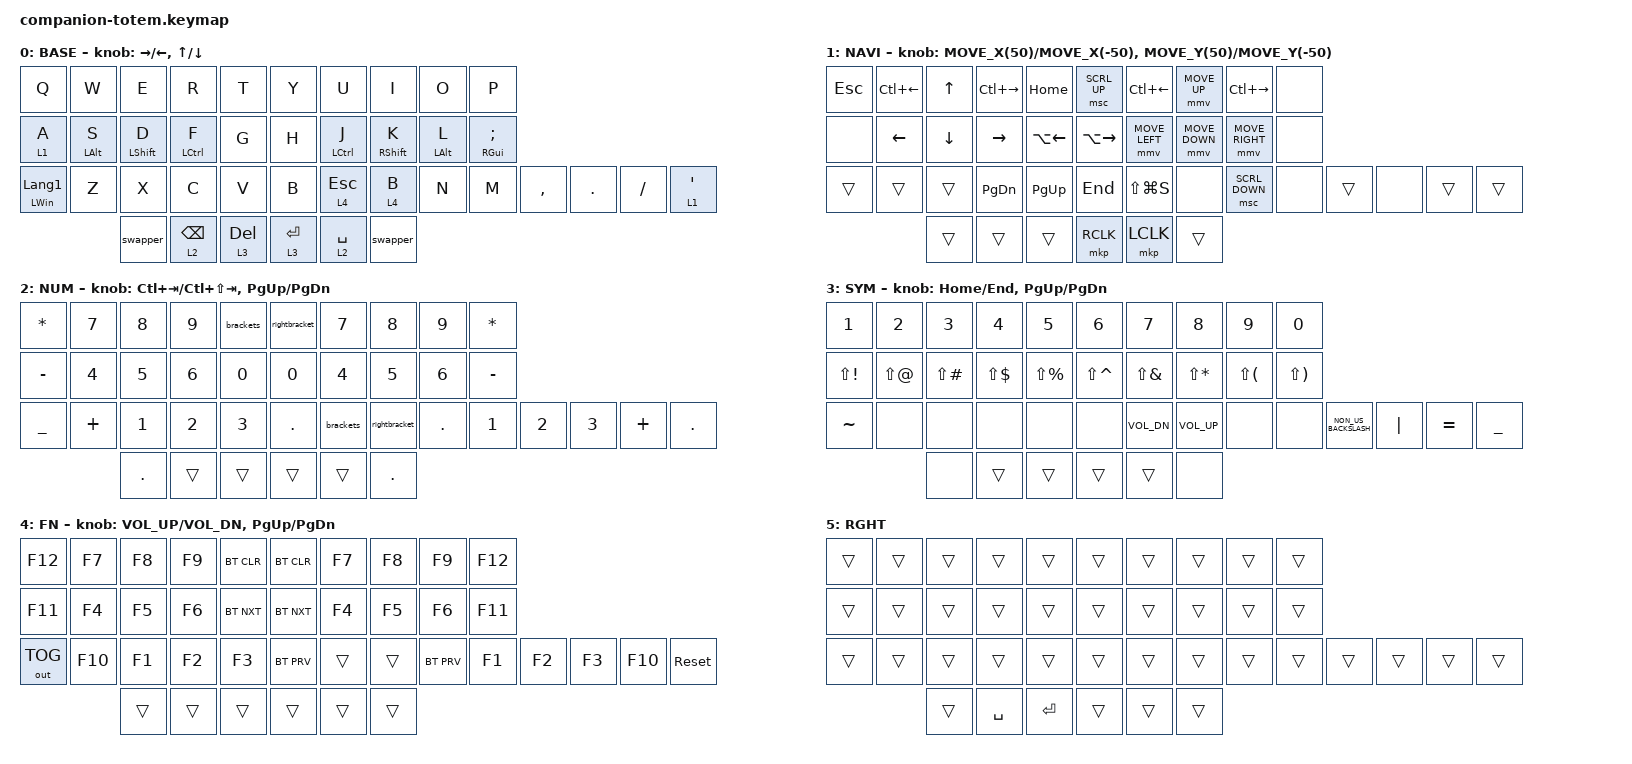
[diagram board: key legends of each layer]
//
//                                                        ▀▀▀▀▀     ▀▀▀▀▀          ▀▀█▀▀
//                                                        ▄▀▀▀▄  ▄  ▄▀▀▀▄  ▄  ▄▀▀▀▄  █  ▄▀▀▀▄
//                                                        █   █  █  █   █  █  █   █  █  █   █
//                                                         ▀▀▀   █   ▀▀▀   █   ▀▀▀   ▀   ▀▀▀
//                                                               █      ▄▄▄█▄▄▄    █   █  
//                                                               ▀      █  █  █     █▄█
//                                                             ▀▀▀▀▀    █  █  █      ▀
//                                                                      ▀  ▀  ▀
//
// ▄▄▄▄▄▄▄▄▄▄▄▄▄▄▄▄▄▄▄▄▄▄▄▄▄▄▄▄▄▄▄▄▄▄▄▄▄▄▄▄▄▄▄▄▄▄▄▄▄▄▄▄▄▄▄▄▄▄▄▄▄▄▄▄▄▄▄▄▄▄▄▄▄▄▄▄▄▄▄▄▄▄▄▄▄▄▄▄▄▄▄▄▄▄▄▄▄▄▄▄▄▄▄▄▄▄▄▄▄▄▄▄▄▄▄▄▄▄▄▄▄▄▄▄▄▄▄▄▄▄▄▄▄▄▄▄▄▄▄▄▄▄▄▄▄▄▄▄▄

#define ZMK_MOUSE_SCRL_VAL 140

#include <behaviors.dtsi>
#include <dt-bindings/zmk/bt.h>
#include <dt-bindings/zmk/keys.h>
#include <dt-bindings/zmk/outputs.h>
#include <dt-bindings/zmk/pointing.h>

#define BASE 0
#define NAV  1
#define SYM  2
#define ADJ  3
#define TVP1 4
#define TVP2 5

&mt {
    quick-tap-ms = <100>;
    global-quick-tap;
    flavor = "tap-preferred";
    tapping-term-ms = <180>;
};

&lt { quick-tap-ms = <200>; };

/ {
    combos {
        compatible = "zmk,combos";

        combo_esc {
            timeout-ms = <25>;
            key-positions = <0 1>;
            bindings = <&kp ESC>;
            require-prior-idle-ms = <150>;
        };

        Paste {
            bindings = <&kp LC(V)>;
            key-positions = <13 24>;
        };

        Tab {
            bindings = <&kp TAB>;
            key-positions = <12 13>;
            timeout-ms = <20>;
            require-prior-idle-ms = <200>;
        };

        hanyeonglayer {
            bindings = <&kp LANG_HANGEUL>;
            key-positions = <11 12 13>;
        };

        temp_right_hand {
            bindings = <&mo 5>;
            key-positions = <24 23 22>;
        };

        TOG_NAV {
            bindings = <&tog 1>;
            key-positions = <10 35>;
        };

        alt_tab {
            bindings = <&swapper>;
            key-positions = <0 1 2 3>;
            timeout-ms = <200>;
        };
    };

    macros {
        Left_right_bracket: Left_bracket {
            compatible = "zmk,behavior-macro";
            #binding-cells = <0>;
            bindings =
                <&macro_tap>,
                <&kp LEFT_PARENTHESIS &kp RIGHT_PARENTHESIS &kp LEFT>;

            label = "LEFT_BRACKET";
        };

        left_right_bracket_2: left_right_bracket_2 {
            compatible = "zmk,behavior-macro";
            #binding-cells = <0>;
            bindings = <&kp LEFT_BRACE &kp RIGHT_BRACE &kp LEFT>;
            label = "LEFT_RIGHT_BRACKET_2";
        };

        left_right_bracket_3: left_right_bracket_3 {
            compatible = "zmk,behavior-macro";
            #binding-cells = <0>;
            bindings = <&kp LEFT_BRACKET &kp RIGHT_BRACKET &kp LEFT>;
            label = "LEFT_RIGHT_BRACKET_3";
        };
    };

    behaviors {
        swapper: swapper {
            compatible = "zmk,behavior-tri-state";
            #binding-cells = <0>;
            bindings = <&kt LALT>, <&kp TAB>, <&kt LALT>;

            ignored-key-positions = <2 10 11 12 13>;

            // ignored-layers = <1>;
        };

        semicolon: semicolon {
            compatible = "zmk,behavior-mod-morph";
            label = "SEMICOLON";
            bindings = <&kp COMMA>, <&kp SEMICOLON>;

            #binding-cells = <0>;
            mods = <(MOD_LSFT)>;
        };

        colon: colon {
            compatible = "zmk,behavior-mod-morph";
            label = "COLON";
            bindings = <&kp PERIOD>, <&kp COLON>;

            #binding-cells = <0>;
            mods = <(MOD_LSFT)>;
        };

        hm: homerow_mods {
            compatible = "zmk,behavior-hold-tap";
            label = "HOMEROW_MODS";
            #binding-cells = <2>;
            bindings = <&kp>, <&kp>;

            tapping-term-ms = <150>;
            quick-tap-ms = <200>;
            flavor = "tap-preferred";
            require-prior-idle-ms = <120>;
        };

        brackets: brackets {
            compatible = "zmk,behavior-tap-dance";
            label = "BRACKETS";
            #binding-cells = <0>;
            bindings =
                <&small_bracket 0 LEFT_PARENTHESIS>,
                <&mid_bracket 0 LEFT_BRACE>,
                <&large_bracket 0 LEFT_BRACKET>;
        };

        rightbracket: rightbracket {
            compatible = "zmk,behavior-tap-dance";
            label = "RIGHTBRACKET";
            #binding-cells = <0>;
            bindings =
                <&kp RIGHT_PARENTHESIS>,
                <&kp RIGHT_BRACE>,
                <&kp RIGHT_BRACKET>;
        };

        small_bracket: small_bracket {
            compatible = "zmk,behavior-hold-tap";
            label = "SMALL_BRACKET";
            bindings = <&Left_right_bracket>, <&kp>;

            #binding-cells = <2>;
            tapping-term-ms = <200>;
            flavor = "balanced";
        };

        mid_bracket: mid_bracket {
            compatible = "zmk,behavior-hold-tap";
            label = "MID_BRACKET";
            bindings = <&left_right_bracket_2>, <&kp>;

            #binding-cells = <2>;
            tapping-term-ms = <200>;
            flavor = "balanced";
        };

        large_bracket: large_bracket {
            compatible = "zmk,behavior-hold-tap";
            label = "LARGE_BRACKET";
            bindings = <&left_right_bracket_3>, <&kp>;

            #binding-cells = <2>;
            tapping-term-ms = <200>;
            flavor = "balanced";
        };

        mouse_scroll: rotate_mouse_scroll {
            compatible = "zmk,behavior-sensor-rotate-var";
            #sensor-binding-cells = <2>;
            bindings = <&msc>, <&msc>;

            label = "scroll_left_right";
            tap-ms = <50>;
        };

        layer1: layer1 {
            compatible = "zmk,behavior-hold-tap";
            label = "LAYER1";
            bindings = <&mo>, <&kp>;

            #binding-cells = <2>;
            tapping-term-ms = <180>;
            require-prior-idle-ms = <150>;
            flavor = "balanced";
        };

        swapperbehav: swapperbehav {
            compatible = "zmk,behavior-hold-tap";
            label = "SWAPPERBEHAV";
            bindings = <&mo>, <&swapper>;

            #binding-cells = <2>;
            tapping-term-ms = <200>;
            flavor = "balanced";
        };
    };

    keymap {
        compatible = "zmk,keymap";

        // ▄▄▄▄▄▄▄▄▄▄▄▄▄▄▄▄▄▄▄▄▄▄▄▄▄▄▄▄▄▄▄▄▄▄▄▄▄▄▄▄▄▄▄▄▄▄▄▄▄▄▄▄▄▄▄▄▄▄▄▄▄▄▄▄▄▄▄▄▄▄▄▄▄▄▄▄▄▄▄▄▄▄▄▄▄▄▄▄▄▄▄▄▄▄▄▄▄▄▄▄▄▄▄▄▄▄▄▄▄▄▄▄▄▄▄▄▄▄▄▄▄▄▄▄▄▄▄▄▄▄▄▄▄▄▄▄▄▄▄▄▄▄▄▄▄▄▄▄▄

        base_layer {
            // ┏━━━━━━━━━━━━━━━━━━━━━━━━━━━━━━━━━━━━━━━┓

            label = "BASE";

            // ┗━━━━━━━━━━━━━━━━━━━━━━━━━━━━━━━━━━━━━━━┛
            //             ┏━━━━━━━━━━━┳━━━━━━━━━━━┳━━━━━━━━━━━┳━━━━━━━━━━━┳━━━━━━━━━━━┓                           ┏━━━━━━━━━━━┳━━━━━━━━━━━┳━━━━━━━━━━━┳━━━━━━━━━━━┳━━━━━━━━━━━┓
            //             ┃     Q     ┃     W     ┃     E     ┃     R     ┃     T     ┃                           ┃     Y     ┃     U     ┃     I     ┃     O     ┃     P     ┃
            //             ┣━━━━━━━━━━━╋━━━━━━━━━━━╋━━━━━━━━━━━╋━━━━━━━━━━━╋━━━━━━━━━━━┫                           ┣━━━━━━━━━━━╋━━━━━━━━━━━╋━━━━━━━━━━━╋━━━━━━━━━━━╋━━━━━━━━━━━┫
            //             ┃    A_L1   ┃   S_ALT   ┃  D_SHIFT  ┃  F_CTRL   ┃     G     ┃                           ┃     H     ┃   J_CTRL  ┃   K_SHFT  ┃   L_ALT   ┃   ;_GUI   ┃
            // ┏━━━━━━━━━━━╋━━━━━━━━━━━╋━━━━━━━━━━━╋━━━━━━━━━━━╋━━━━━━━━━━━╋━━━━━━━━━━━╋━━━━━━━━━━━┓   ┏━━━━━━━━━━━╋━━━━━━━━━━━╋━━━━━━━━━━━╋━━━━━━━━━━━╋━━━━━━━━━━━╋━━━━━━━━━━━╋━━━━━━━━━━━┓
            // ┃hangeul_GUI┃     Z     ┃     X     ┃     C     ┃     V     ┃     B     ┃  ESC_L4   ┃   ┃    B_L4   ┃     N     ┃     M     ┃     ,     ┃     .     ┃     /     ┃    '_L1   ┃
            // ┗━━━━━━━━━━━┻━━━━━━━━━━━┻━━━━━━━━━━━╋━━━━━━━━━━━╋━━━━━━━━━━━╋━━━━━━━━━━━╋━━━━━━━━━━━┛   ┗━━━━━━━━━━━╋━━━━━━━━━━━╋━━━━━━━━━━━╋━━━━━━━━━━━╋━━━━━━━━━━━┻━━━━━━━━━━━┻━━━━━━━━━━━┛
            //                                     ┃  swapper  ┃  BSPC_L2  ┃   DEL_L3  ┃                           ┃ ENTER_L3  ┃   SPC_L2  ┃  swapper  ┃
            //                                     ┗━━━━━━━━━━━┻━━━━━━━━━━━┻━━━━━━━━━━━┛                           ┗━━━━━━━━━━━┻━━━━━━━━━━━┻━━━━━━━━━━━┛

            bindings = <
&kp Q                    &kp W       &kp E        &kp R            &kp T         &kp Y        &kp U        &kp I        &kp O       &kp P
&layer1 1 A              &hm LALT S  &hm LSHFT D  &hm LCTRL F      &kp G         &kp H        &hm LCTRL J  &hm RSHFT K  &hm LALT L  &hm RGUI SEMI
&hm LEFT_WIN LANGUAGE_1  &kp Z       &kp X        &kp C            &kp V         &kp B        &lt 4 ESC    &lt 4 B      &kp N       &kp M          &kp COMMA  &kp PERIOD  &kp SLASH  &lt 1 SQT
                                     &swapper     &lt 2 BACKSPACE  &lt 3 DELETE  &lt 3 ENTER  &lt 2 SPACE  &swapper
            >;

            sensor-bindings =
                <&inc_dec_kp RIGHT LEFT>,
                <&inc_dec_kp UP_ARROW DOWN>;
        };

        nav_layer {
            // ┏━━━━━━━━━━━━━━━━━━━━━━━━━━━━━━━━━━━━━━━┓

            label = "NAVI";

            // ┗━━━━━━━━━━━━━━━━━━━━━━━━━━━━━━━━━━━━━━━┛
            //             ┏━━━━━━━━━━━┳━━━━━━━━━━━┳━━━━━━━━━━━┳━━━━━━━━━━━┳━━━━━━━━━━━┓                           ┏━━━━━━━━━━━┳━━━━━━━━━━━┳━━━━━━━━━━━┳━━━━━━━━━━━┳━━━━━━━━━━━┓
            //             ┃           ┃           ┃     UP    ┃           ┃     {     ┃                           ┃     }     ┃     7     ┃     8     ┃     9     ┃     +     ┃
            //             ┣━━━━━━━━━━━╋━━━━━━━━━━━╋━━━━━━━━━━━╋━━━━━━━━━━━╋━━━━━━━━━━━┫                           ┣━━━━━━━━━━━╋━━━━━━━━━━━╋━━━━━━━━━━━╋━━━━━━━━━━━╋━━━━━━━━━━━┫
            //             ┃   SHIFT   ┃   LEFT    ┃    DOWN   ┃   RIGHT   ┃     [     ┃                           ┃     ]     ┃     4     ┃     5     ┃     6     ┃     -     ┃
            // ┏━━━━━━━━━━━╋━━━━━━━━━━━╋━━━━━━━━━━━╋━━━━━━━━━━━╋━━━━━━━━━━━╋━━━━━━━━━━━╋━━━━━━━━━━━┓   ┏━━━━━━━━━━━╋━━━━━━━━━━━╋━━━━━━━━━━━╋━━━━━━━━━━━╋━━━━━━━━━━━╋━━━━━━━━━━━╋━━━━━━━━━━━┓
            // ┃           ┃           ┃   P UP    ┃  C LOCK   ┃  P DOWN   ┃     (     ┃     N     ┃   ┃     B     ┃     )     ┃     1     ┃     2     ┃     3     ┃     *     ┃           ┃
            // ┗━━━━━━━━━━━┻━━━━━━━━━━━┻━━━━━━━━━━━╋━━━━━━━━━━━╋━━━━━━━━━━━╋━━━━━━━━━━━╋━━━━━━━━━━━┛   ┗━━━━━━━━━━━╋━━━━━━━━━━━╋━━━━━━━━━━━╋━━━━━━━━━━━╋━━━━━━━━━━━┻━━━━━━━━━━━┻━━━━━━━━━━━┛
            //                                     ┃           ┃    TAB    ┃    SPC    ┃                           ┃    DEL    ┃     0     ┃           ┃
            //                                     ┗━━━━━━━━━━━┻━━━━━━━━━━━┻━━━━━━━━━━━┛                           ┗━━━━━━━━━━━┻━━━━━━━━━━━┻━━━━━━━━━━━┛

            bindings = <
&kp ESC  &kp LC(LEFT)  &kp UP    &kp LC(RIGHT)  &kp HOME      &msc SCRL_UP         &kp LC(LEFT_ARROW)  &mmv MOVE_UP    &kp LC(RIGHT)    &none
&none    &kp LEFT      &kp DOWN  &kp RIGHT      &kp LA(LEFT)  &kp LA(RIGHT_ARROW)  &mmv MOVE_LEFT      &mmv MOVE_DOWN  &mmv MOVE_RIGHT  &none
&trans   &trans        &trans    &kp PAGE_DOWN  &kp PG_UP     &kp END              &kp LS(LG(S))       &none           &msc SCRL_DOWN   &none  &trans  &none  &trans  &trans
                       &trans    &trans         &trans        &mkp RCLK            &mkp LCLK           &trans
            >;

            sensor-bindings =
                <&mouse_scroll MOVE_X(50) MOVE_X(-50)>,
                <&mouse_scroll MOVE_Y(50) MOVE_Y(-50)>;
        };

        num_layer {
            // ┏━━━━━━━━━━━━━━━━━━━━━━━━━━━━━━━━━━━━━━━┓

            label = "NUM";

            // ┗━━━━━━━━━━━━━━━━━━━━━━━━━━━━━━━━━━━━━━━┛
            //             ┏━━━━━━━━━━━┳━━━━━━━━━━━┳━━━━━━━━━━━┳━━━━━━━━━━━┳━━━━━━━━━━━┓                           ┏━━━━━━━━━━━┳━━━━━━━━━━━┳━━━━━━━━━━━┳━━━━━━━━━━━┳━━━━━━━━━━━┓
            //             ┃ SOLO      ┃ TOGGLE IN ┃ RESET ROT ┃ TOGGLE OUT┃ TAKE SNAP ┃                           ┃           ┃           ┃           ┃           ┃           ┃
            //             ┣━━━━━━━━━━━╋━━━━━━━━━━━╋━━━━━━━━━━━╋━━━━━━━━━━━╋━━━━━━━━━━━┫                           ┣━━━━━━━━━━━╋━━━━━━━━━━━╋━━━━━━━━━━━╋━━━━━━━━━━━╋━━━━━━━━━━━┫
            //             ┃ ---       ┃ LAST KEY  ┃ NEW KEY   ┃ NEXT KEY  ┃ ENTER     ┃                           ┃           ┃           ┃           ┃           ┃           ┃
            // ┏━━━━━━━━━━━╋━━━━━━━━━━━╋━━━━━━━━━━━╋━━━━━━━━━━━╋━━━━━━━━━━━╋━━━━━━━━━━━╋━━━━━━━━━━━┓   ┏━━━━━━━━━━━╋━━━━━━━━━━━╋━━━━━━━━━━━╋━━━━━━━━━━━╋━━━━━━━━━━━╋━━━━━━━━━━━╋━━━━━━━━━━━┓
            // ┃           ┃ FULLSCR   ┃ CPY2BRUSH ┃ DEL HEAD  ┃ PSTinPLACE┃ BOOK MARK ┃           ┃   ┃           ┃           ┃           ┃           ┃           ┃           ┃           ┃
            // ┗━━━━━━━━━━━┻━━━━━━━━━━━┻━━━━━━━━━━━╋━━━━━━━━━━━╋━━━━━━━━━━━╋━━━━━━━━━━━╋━━━━━━━━━━━┛   ┗━━━━━━━━━━━╋━━━━━━━━━━━╋━━━━━━━━━━━╋━━━━━━━━━━━╋━━━━━━━━━━━┻━━━━━━━━━━━┻━━━━━━━━━━━┛
            //                                     ┃           ┃ REDO/SAV1 ┃TRANS/WARP ┃                           ┃           ┃           ┃           ┃
            //                                     ┗━━━━━━━━━━━┻━━━━━━━━━━━┻━━━━━━━━━━━┛                           ┗━━━━━━━━━━━┻━━━━━━━━━━━┻━━━━━━━━━━━┛

            bindings = <
&kp STAR        &kp N7    &kp N8        &kp N9        &brackets     &rightbracket  &kp N7     &kp N8         &kp N9      &kp STAR
&kp MINUS       &kp N4    &kp N5        &kp N6        &kp N0        &kp N0         &kp N4     &kp N5         &kp N6      &kp MINUS
&kp UNDERSCORE  &kp PLUS  &kp NUMBER_1  &kp NUMBER_2  &kp NUMBER_3  &kp PERIOD     &brackets  &rightbracket  &kp PERIOD  &kp NUMBER_1  &kp NUMBER_2  &kp NUMBER_3  &kp PLUS  &kp PERIOD
                          &kp PERIOD    &trans        &trans        &trans         &trans     &kp PERIOD
            >;

            sensor-bindings =
                <&inc_dec_kp LC(TAB) LC(LS(TAB))>,
                <&inc_dec_kp PG_UP PG_DN>;
        };

        sym_layer {
            // ┏━━━━━━━━━━━━━━━━━━━━━━━━━━━━━━━━━━━━━━━┓

            label = "SYM";

            // ┗━━━━━━━━━━━━━━━━━━━━━━━━━━━━━━━━━━━━━━━┛
            //             ┏━━━━━━━━━━━┳━━━━━━━━━━━┳━━━━━━━━━━━┳━━━━━━━━━━━┳━━━━━━━━━━━┓                           ┏━━━━━━━━━━━┳━━━━━━━━━━━┳━━━━━━━━━━━┳━━━━━━━━━━━┳━━━━━━━━━━━┓
            //             ┃     !     ┃     @     ┃     #     ┃     $     ┃     %     ┃                           ┃     ˆ     ┃     &     ┃     Ü     ┃     '     ┃     "     ┃
            //             ┣━━━━━━━━━━━╋━━━━━━━━━━━╋━━━━━━━━━━━╋━━━━━━━━━━━╋━━━━━━━━━━━┫                           ┣━━━━━━━━━━━╋━━━━━━━━━━━╋━━━━━━━━━━━╋━━━━━━━━━━━╋━━━━━━━━━━━┫
            //             ┃     Ä     ┃           ┃    SZ     ┃           ┃           ┃                           ┃   MUTE    ┃   YEN     ┃   EURO    ┃  POUND    ┃     Ö     ┃
            // ┏━━━━━━━━━━━╋━━━━━━━━━━━╋━━━━━━━━━━━╋━━━━━━━━━━━╋━━━━━━━━━━━╋━━━━━━━━━━━╋━━━━━━━━━━━┓   ┏━━━━━━━━━━━╋━━━━━━━━━━━╋━━━━━━━━━━━╋━━━━━━━━━━━╋━━━━━━━━━━━╋━━━━━━━━━━━╋━━━━━━━━━━━┓
            // ┃           ┃  EMAIL1   ┃  EMAIL2   ┃           ┃           ┃           ┃     N     ┃   ┃     B     ┃   VOL-    ┃   VOL+    ┃   LAST    ┃   NEXT    ┃     \     ┃           ┃
            // ┗━━━━━━━━━━━┻━━━━━━━━━━━┻━━━━━━━━━━━╋━━━━━━━━━━━╋━━━━━━━━━━━╋━━━━━━━━━━━╋━━━━━━━━━━━┛   ┗━━━━━━━━━━━╋━━━━━━━━━━━╋━━━━━━━━━━━╋━━━━━━━━━━━╋━━━━━━━━━━━┻━━━━━━━━━━━┻━━━━━━━━━━━┛
            //                                     ┃           ┃    GIF    ┃    ADJ    ┃                           ┃           ┃           ┃           ┃
            //                                     ┗━━━━━━━━━━━┻━━━━━━━━━━━┻━━━━━━━━━━━┛                           ┗━━━━━━━━━━━┻━━━━━━━━━━━┻━━━━━━━━━━━┛

            bindings = <
&kp N1        &kp N2      &kp N3         &kp N4        &kp N5         &kp N6         &kp N7        &kp N8           &kp N9        &kp N0
&kp LS(EXCL)  &kp LS(AT)  &kp LS(POUND)  &kp LS(DLLR)  &kp LS(PRCNT)  &kp LS(CARET)  &kp LS(AMPS)  &kp LS(STAR)     &kp LS(LPAR)  &kp LS(RPAR)
&kp TILDE     &none       &none          &none         &none          &none          &kp C_VOL_DN  &kp C_VOLUME_UP  &none         &none         &kp NON_US_BACKSLASH  &kp PIPE  &kp EQUAL  &kp UNDERSCORE
                          &none          &trans        &trans         &trans         &trans        &none
            >;

            sensor-bindings = <&inc_dec_kp HOME END>, <&inc_dec_kp PG_UP PG_DN>;
        };

        fn_layer {
            // ┏━━━━━━━━━━━━━━━━━━━━━━━━━━━━━━━━━━━━━━━┓

            label = "FN";

            // ┗━━━━━━━━━━━━━━━━━━━━━━━━━━━━━━━━━━━━━━━┛
            //             ┏━━━━━━━━━━━┳━━━━━━━━━━━┳━━━━━━━━━━━┳━━━━━━━━━━━┳━━━━━━━━━━━┓                           ┏━━━━━━━━━━━┳━━━━━━━━━━━┳━━━━━━━━━━━┳━━━━━━━━━━━┳━━━━━━━━━━━┓
            //             ┃   RESET   ┃ BT CLEAR  ┃  OUT TOG  ┃           ┃           ┃                           ┃           ┃    F7     ┃    F8     ┃    F9     ┃    F12    ┃
            //             ┣━━━━━━━━━━━╋━━━━━━━━━━━╋━━━━━━━━━━━╋━━━━━━━━━━━╋━━━━━━━━━━━┫                           ┣━━━━━━━━━━━╋━━━━━━━━━━━╋━━━━━━━━━━━╋━━━━━━━━━━━╋━━━━━━━━━━━┫
            //             ┃ BOOTLOAD  ┃ BT NEXT   ┃           ┃           ┃           ┃                           ┃           ┃    F4     ┃    F5     ┃    F6     ┃    F11    ┃
            // ┏━━━━━━━━━━━╋━━━━━━━━━━━╋━━━━━━━━━━━╋━━━━━━━━━━━╋━━━━━━━━━━━╋━━━━━━━━━━━╋━━━━━━━━━━━┓   ┏━━━━━━━━━━━╋━━━━━━━━━━━╋━━━━━━━━━━━╋━━━━━━━━━━━╋━━━━━━━━━━━╋━━━━━━━━━━━╋━━━━━━━━━━━┓
            // ┃           ┃           ┃ BT PREV   ┃           ┃           ┃           ┃           ┃   ┃           ┃           ┃    F1     ┃    F2     ┃    F3     ┃    F10    ┃           ┃
            // ┗━━━━━━━━━━━┻━━━━━━━━━━━┻━━━━━━━━━━━╋━━━━━━━━━━━╋━━━━━━━━━━━╋━━━━━━━━━━━╋━━━━━━━━━━━┛   ┗━━━━━━━━━━━╋━━━━━━━━━━━╋━━━━━━━━━━━╋━━━━━━━━━━━╋━━━━━━━━━━━┻━━━━━━━━━━━┻━━━━━━━━━━━┛
            //                                     ┃           ┃           ┃           ┃                           ┃           ┃           ┃           ┃
            //                                     ┗━━━━━━━━━━━┻━━━━━━━━━━━┻━━━━━━━━━━━┛                           ┗━━━━━━━━━━━┻━━━━━━━━━━━┻━━━━━━━━━━━┛

            bindings = <
&kp F12       &kp F7   &kp F8  &kp F9  &bt BT_CLR  &bt BT_CLR  &kp F7  &kp F8  &kp F9      &kp F12
&kp F11       &kp F4   &kp F5  &kp F6  &bt BT_NXT  &bt BT_NXT  &kp F4  &kp F5  &kp F6      &kp F11
&out OUT_TOG  &kp F10  &kp F1  &kp F2  &kp F3      &bt BT_PRV  &trans  &trans  &bt BT_PRV  &kp F1   &kp F2  &kp F3  &kp F10  &sys_reset
                       &trans  &trans  &trans      &trans      &trans  &trans
            >;

            sensor-bindings = <&inc_dec_kp C_VOL_UP C_VOL_DN &inc_dec_kp PG_UP PG_DN>;
        };

        righthand {
            bindings = <
&trans  &trans  &trans  &trans     &trans   &trans  &trans  &trans  &trans  &trans
&trans  &trans  &trans  &trans     &trans   &trans  &trans  &trans  &trans  &trans
&trans  &trans  &trans  &trans     &trans   &trans  &trans  &trans  &trans  &trans  &trans  &trans  &trans  &trans
                &trans  &kp SPACE  &kp RET  &trans  &trans  &trans
            >;

            label = "RGHT";
        };
    };

    //Encoder default
    // &left_encoder {
    // status = "okay";
    // zmk,bindings = <&msc SCRL_RIGHT &msc SCRL_LEFT>; // scroll horizontal
    // };
    // &right_encoder {
    // status = "okay";
    // zmk,bindings = <&msc SCRL_UP &msc SCRL_DOWN>; // scroll vertical
    // };
};
